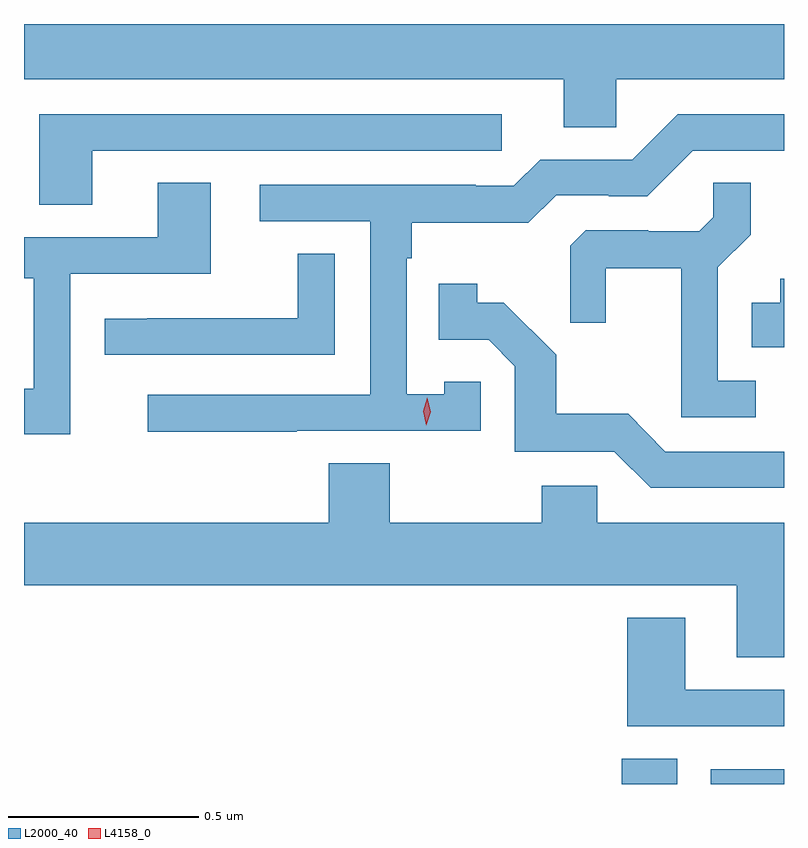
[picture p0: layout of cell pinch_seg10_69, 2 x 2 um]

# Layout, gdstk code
import gdstk
lib = gdstk.Library(unit=1e-6, precision=1e-09)
def R(c, l, rs):  # rectangles x0, y0, x1, y1
    for r in rs: c.add(gdstk.rectangle(r[:2], r[2:], *l))
def P(c, l, *ps):  # polygons
    for p in ps: c.add(gdstk.Polygon(p, *l))
L2000_40 = (2000, 40)
L4158_0 = (4158, 0)

pinch_seg10_69 = lib.new_cell('pinch_seg10_69')
R(pinch_seg10_69, L2000_40, [(835.124,1311.781,835.27,1311.848), (835.358,1311.781,835.551,1311.82)])
P(pinch_seg10_69, L2000_40, [(835.11,1313.636),(835.551,1313.636),(835.551,1313.781),(833.551,1313.781),(833.551,1313.636),(834.971,1313.636),(834.971,1313.509),(835.11,1313.509)],
  [(834.269,1312.71),(834.753,1312.71),(834.753,1312.839),(834.657,1312.839),(834.657,1312.807),(834.558,1312.807),(834.558,1313.165),(834.571,1313.165),(834.571,1313.258),(834.878,1313.258),(834.951,1313.331),(835.09,1313.331),(835.09,1313.328),(835.191,1313.328),(835.311,1313.448),(835.551,1313.448),(835.551,1313.544),(835.272,1313.544),(835.152,1313.424),(834.909,1313.424),(834.84,1313.355),(834.74,1313.355),(834.74,1313.358),(834.171,1313.358),(834.171,1313.262),(834.462,1313.262),(834.462,1312.806),(833.877,1312.806),(833.877,1312.708),(834.269,1312.708)],
  [(833.731,1313.448),(834.808,1313.448),(834.808,1313.544),(833.591,1313.544),(833.591,1313.305),(833.731,1313.305)],
  [(833.673,1313.124),(834.043,1313.124),(834.043,1313.363),(833.903,1313.363),(833.903,1313.22),(833.551,1313.22),(833.551,1313.112),(833.576,1313.112),(833.576,1312.821),(833.551,1312.821),(833.551,1312.701),(833.673,1312.701)],
  [(835.477,1312.842),(835.377,1312.842),(835.377,1313.141),(835.463,1313.227),(835.463,1313.363),(835.365,1313.363),(835.365,1313.272),(835.328,1313.235),(835.194,1313.235),(835.194,1313.238),(835.029,1313.238),(834.988,1313.197),(834.988,1312.995),(835.082,1312.995),(835.082,1313.138),(835.28,1313.138),(835.28,1312.746),(835.477,1312.746)],
  [(834.369,1313.177),(834.271,1313.177),(834.271,1313.007),(833.875,1313.007),(833.875,1313.006),(833.763,1313.006),(833.763,1312.911),(834.369,1312.911)],
  [(835.551,1313.11),(835.541,1313.11),(835.541,1313.047),(835.466,1313.047),(835.466,1312.931),(835.551,1312.931)],
  [(835.551,1312.656),(835.239,1312.656),(835.141,1312.755),(834.952,1312.755),(834.952,1312.91),(834.814,1313.048),(834.744,1313.048),(834.744,1313.098),(834.643,1313.098),(834.643,1312.95),(834.774,1312.95),(834.843,1312.881),(834.843,1312.656),(835.104,1312.656),(835.2,1312.56),(835.551,1312.56)],
  [(835.551,1312.468),(835.059,1312.468),(835.059,1312.566),(834.913,1312.566),(834.913,1312.468),(834.513,1312.468),(834.513,1312.625),(834.353,1312.625),(834.353,1312.468),(833.551,1312.468),(833.551,1312.304),(835.427,1312.304),(835.427,1312.114),(835.551,1312.114)],
  [(835.551,1312.029),(835.291,1312.029),(835.291,1312.219),(835.139,1312.219),(835.139,1311.933),(835.551,1311.933)])
P(pinch_seg10_69, L4158_0, [(834.61,1312.725),(834.61,1312.725),(834.601,1312.762),(834.612,1312.797),(834.612,1312.797),(834.612,1312.797),(834.621,1312.761),(834.61,1312.725)])

lib.write_gds('pinch_seg10_69.gds')
